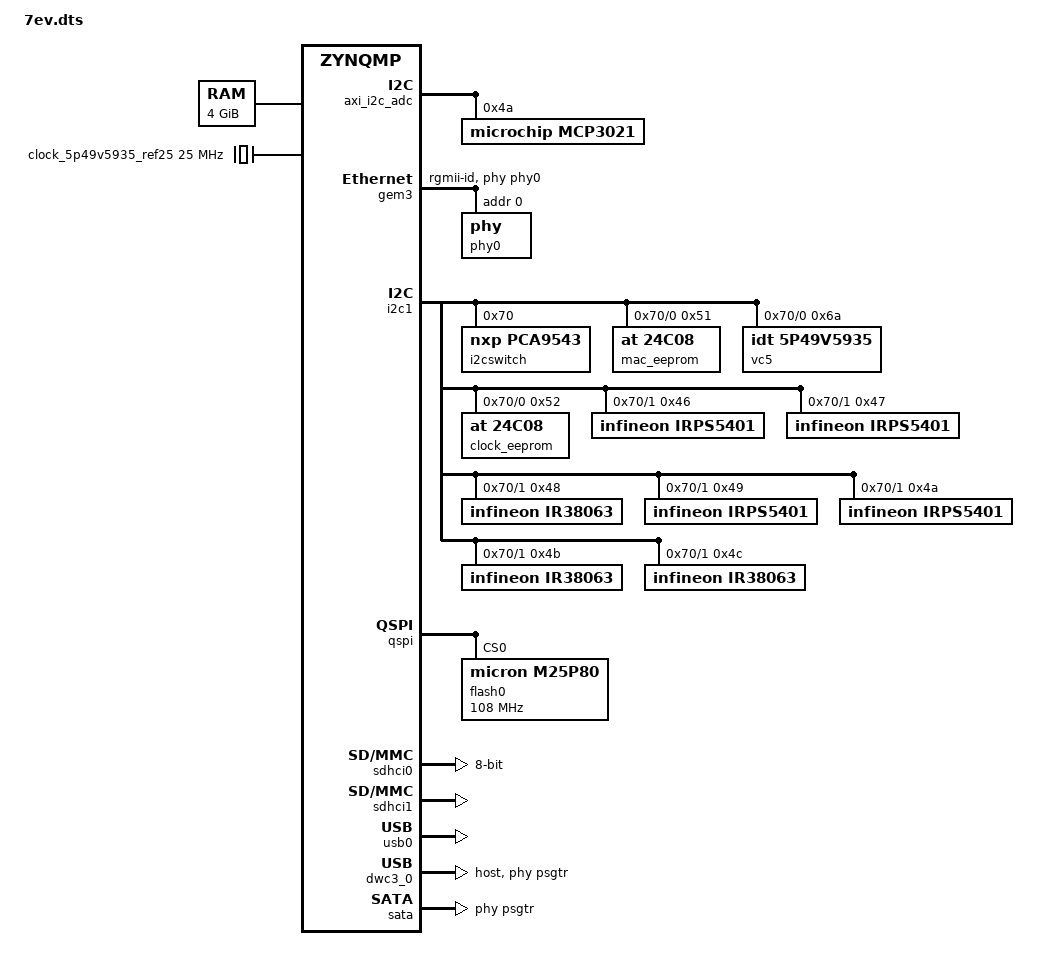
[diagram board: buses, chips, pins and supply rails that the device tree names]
/dts-v1/;
#include "zynqmp.dtsi"
#include "zynqmp-clk-ccf.dtsi"
#include "pl.dtsi"
#include "pcw.dtsi"
#include <dt-bindings/phy/phy.h>
#include <dt-bindings/input/input.h>
#include <dt-bindings/gpio/gpio.h>
#include <dt-bindings/pinctrl/pinctrl-zynqmp.h>
#include <dt-bindings/interrupt-controller/irq.h>

/* From include/dt-bindings/clk/versaclock.h */
#define VC5_LVPECL   0
#define VC5_CMOS  1
#define VC5_HCSL33   2
#define VC5_LVDS  3
#define VC5_CMOS2 4
#define VC5_CMOSD 5
#define VC5_HCSL25   6
/ {
	chosen {
		bootargs = "earlycon console=ttyPS0,115200 clk_ignore_unused root=/dev/mmcblk1p2 rw rootwait";
		stdout-path = "serial0:115200n8";
	};
	aliases {
		ethernet0 = &gem3;
		serial0 = &uart0;
		serial1 = &uart1;
		spi0 = &qspi;
	};
	memory {
		device_type = "memory";
		reg = <0x0 0x0 0x0 0x7ff00000>, <0x00000008 0x00000000 0x0 0x80000000>;
	};
	
   clock_5p49v5935_ref25: ref25m { /* 25MHz reference crystal (internal) - U3 */
      compatible = "fixed-clock";
      #clock-cells = <0>;
      clock-frequency = <25000000>;
   };

   gtr_clk0: gtr_clk0 { /* gtr_refclk0_pcie - 100MHz - U3 */
      compatible = "fixed-clock";
      #clock-cells = <0>;
      clock-frequency = <100000000>;
   };

   gtr_clk1: gtr_clk1 { /* gtr_refclk1_sata - 125MHz - U3 */
      compatible = "fixed-clock";
      #clock-cells = <0>;
      clock-frequency = <125000000>;
   };

   gtr_clk2: gtr_clk2 { /* gtr_refclk2_usb - 52MHz - U3 */
      compatible = "fixed-clock";
      #clock-cells = <0>;
      clock-frequency = <52000000>;
   };

   gtr_clk3: gtr_clk3 { /* gtr_refclk3_dp - 27MHz - U3 */
      compatible = "fixed-clock";
      #clock-cells = <0>;
      clock-frequency = <27000000>;
   };
};

&fpd_dma_chan1 {
	status = "okay";
	#dma-cells = <1>;
	xlnx,bus-width = <128>;
};

&fpd_dma_chan2 {
	status = "okay";
	#dma-cells = <1>;
	xlnx,bus-width = <128>;
};

&fpd_dma_chan3 {
	status = "okay";
	#dma-cells = <1>;
	xlnx,bus-width = <128>;
};
    
&amba_pl {
	cc7ev_system: cc7ev_system@80200000 {
	   compatible = "cc7ev_system-1.0";
	   reg = <0x0 0x80200000 0x0 0x10000>;
    };
	ch0: channel@80000000 {
	      compatible = "channel-1.0";
	      clock-names = "axi_lite_aclk";
	      clocks = <&misc_clk_0>, <&misc_clk_0>;
	      reg = <0x0 0x80000000 0x0 0x10000>,
                <0x0 0x80040000 0x0 0x10000>,
                <0x0 0x80210000 0x0 0x10000>;
          reg-names = "channel_in", "channel_out", "line_test";                                        
 		  channel_number = <0>;
		  refclk_hz = <300000000>;
          pcmout_init_bitrate = <1000000>;
		  c_out_polarity = <0>;
		  d_out_polarity = <0>;
    };
	ch1: channel@80010000 {
	      compatible = "channel-1.0";
	      clock-names = "axi_lite_aclk";
	      clocks = <&misc_clk_0>, <&misc_clk_0>;
	      reg = <0x0 0x80010000 0x0 0x10000>,
                <0x0 0x80050000 0x0 0x10000>,
                <0x0 0x80220000 0x0 0x10000>;
          reg-names = "channel_in", "channel_out", "line_test";                                        
 		  channel_number = <1>;
		  refclk_hz = <300000000>;
          pcmout_init_bitrate = <1000000>;
		  c_out_polarity = <0>;
		  d_out_polarity = <0>;
    };
	ch2: channel@80020000 {
	      compatible = "channel-1.0";
	      clock-names = "axi_lite_aclk";
	      clocks = <&misc_clk_0>, <&misc_clk_0>;
	      reg = <0x0 0x80020000 0x0 0x10000>,
                <0x0 0x80060000 0x0 0x10000>,
                <0x0 0x80230000 0x0 0x10000>;
          reg-names = "channel_in", "channel_out", "line_test";                                        
 		  channel_number = <2>;
		  refclk_hz = <300000000>;
          pcmout_init_bitrate = <1000000>;
		  c_out_polarity = <0>;
		  d_out_polarity = <0>;
    };
	ch3: channel@80030000 {
	      compatible = "channel-1.0";
	      clock-names = "axi_lite_aclk";
	      clocks = <&misc_clk_0>, <&misc_clk_0>;
	      reg = <0x0 0x80030000 0x0 0x10000>,
                <0x0 0x80070000 0x0 0x10000>,
                <0x0 0x80240000 0x0 0x10000>;
          reg-names = "channel_in", "channel_out", "line_test";                                        
 		  channel_number = <3>;
		  refclk_hz = <300000000>;
          pcmout_init_bitrate = <1000000>;
		  c_out_polarity = <0>;
		  d_out_polarity = <0>;
    };
	clocktrack0: clocktrack@80090000 {
	      compatible = "clocktrack-1.0";
	      clock-names = "axi_lite_aclk";
	      clocks = <&misc_clk_0>, <&misc_clk_0>;
     	  reg = <0x0 0x80090000 0x0 0x10000>;
		  refclk_hz = <300000000>;
	      setpointcenter = <250000>;
	      setpointoffset = <50000>;
    };
    dma_central0: dma_central@80080000 {
          compatible = "dma_central-1.0";
	      clock-names = "axi_lite_aclk", "axis_in_aclk";
          clocks = <&misc_clk_0>, <&misc_clk_0>;
          interrupt-parent = <&gic>;
          interrupts = <0 89 1>;
          reg = <0x0 0x80080000 0x0 0x1000 0x0 0xa0000000 0x0 0x100000>;
          start_channel = <0>;
          num_channels = <4>;
          int_retry_cnt = <500000>;
          dmas = <&fpd_dma_chan1 0>;
          dma-names = "dma";
	};
	ch4: channel@800a0000 {
	      compatible = "channel-1.0";
	      clock-names = "axi_lite_aclk";
	      clocks = <&misc_clk_0>, <&misc_clk_0>;
	      reg = <0x0 0x800a0000 0x0 0x10000>,
                <0x0 0x800b0000 0x0 0x10000>,
                <0x0 0x80250000 0x0 0x10000>;
          reg-names = "channel_in", "channel_out", "line_test";                                        
 		  channel_number = <4>;
		  refclk_hz = <300000000>;
          pcmout_init_bitrate = <1000000>;
		  c_out_polarity = <0>;
		  d_out_polarity = <0>;
    };
	ch5: channel@800c0000 {
	      compatible = "channel-1.0";
	      clock-names = "axi_lite_aclk";
	      clocks = <&misc_clk_0>, <&misc_clk_0>;
	      reg = <0x0 0x800c0000 0x0 0x10000>,
                <0x0 0x800d0000 0x0 0x10000>,
                <0x0 0x80260000 0x0 0x10000>;
          reg-names = "channel_in", "channel_out", "line_test";                                        
 		  channel_number = <5>;
		  refclk_hz = <300000000>;
          pcmout_init_bitrate = <1000000>;
		  c_out_polarity = <0>;
		  d_out_polarity = <0>;
    };
	ch6: channel@800e0000 {
	      compatible = "channel-1.0";
	      clock-names = "axi_lite_aclk";
	      clocks = <&misc_clk_0>, <&misc_clk_0>;
	      reg = <0x0 0x800e0000 0x0 0x10000>,
                <0x0 0x800f0000 0x0 0x10000>,
                <0x0 0x80270000 0x0 0x10000>;
          reg-names = "channel_in", "channel_out", "line_test";                                        
 		  channel_number = <6>;
		  refclk_hz = <300000000>;
          pcmout_init_bitrate = <1000000>;
		  c_out_polarity = <0>;
		  d_out_polarity = <0>;
    };
	ch7: channel@80100000 {
	      compatible = "channel-1.0";
	      clock-names = "axi_lite_aclk";
	      clocks = <&misc_clk_0>, <&misc_clk_0>;
	      reg = <0x0 0x80100000 0x0 0x10000>,
                <0x0 0x80110000 0x0 0x10000>,
                <0x0 0x80280000 0x0 0x10000>;
          reg-names = "channel_in", "channel_out", "line_test";                                        
 		  channel_number = <7>;
		  refclk_hz = <300000000>;
          pcmout_init_bitrate = <1000000>;
		  c_out_polarity = <0>;
		  d_out_polarity = <0>;
    };
	clocktrack1: clocktrack@80130000 {
	      compatible = "clocktrack-1.0";
	      clock-names = "axi_lite_aclk";
	      clocks = <&misc_clk_0>, <&misc_clk_0>;
     	  reg = <0x0 0x80130000 0x0 0x10000>;
		  refclk_hz = <300000000>;
	      setpointcenter = <250000>;
	      setpointoffset = <50000>;
    };
    dma_central1: dma_central@80150000 {
          compatible = "dma_central-1.0";
	      clock-names = "axi_lite_aclk", "axis_in_aclk";
          clocks = <&misc_clk_0>, <&misc_clk_0>;
          interrupt-parent = <&gic>;
          interrupts = <0 90 1>;
          reg = <0x0 0x80150000 0x0 0x1000 0x0 0xb0000000 0x0 0x100000>;
          start_channel = <4>;
          num_channels = <4>;
          int_retry_cnt = <500000>;
          dmas = <&fpd_dma_chan2 0>;
          dma-names = "dma";
	};
	ch8: channel@80160000 {
	      compatible = "channel-1.0";
	      clock-names = "axi_lite_aclk";
	      clocks = <&misc_clk_0>, <&misc_clk_0>;
	      reg = <0x0 0x80160000 0x0 0x10000>,
                <0x0 0x80170000 0x0 0x10000>,
                <0x0 0x80290000 0x0 0x10000>;
          reg-names = "channel_in", "channel_out", "line_test";                                        
 		  channel_number = <8>;
		  refclk_hz = <300000000>;
          pcmout_init_bitrate = <1000000>;
		  c_out_polarity = <0>;
		  d_out_polarity = <0>;
    };
	ch9: channel@80180000 {
	      compatible = "channel-1.0";
	      clock-names = "axi_lite_aclk";
	      clocks = <&misc_clk_0>, <&misc_clk_0>;
	      reg = <0x0 0x80180000 0x0 0x10000>,
                <0x0 0x80190000 0x0 0x10000>,
                <0x0 0x802a0000 0x0 0x10000>;
          reg-names = "channel_in", "channel_out", "line_test";                                        
 		  channel_number = <9>;
		  refclk_hz = <300000000>;
          pcmout_init_bitrate = <1000000>;
		  c_out_polarity = <0>;
		  d_out_polarity = <0>;
    };
	ch10: channel@801a0000 {
	      compatible = "channel-1.0";
	      clock-names = "axi_lite_aclk";
	      clocks = <&misc_clk_0>, <&misc_clk_0>;
	      reg = <0x0 0x801a0000 0x0 0x10000>,
                <0x0 0x801b0000 0x0 0x10000>,
                <0x0 0x802b0000 0x0 0x10000>;
          reg-names = "channel_in", "channel_out", "line_test";                                        
 		  channel_number = <10>;
		  refclk_hz = <300000000>;
          pcmout_init_bitrate = <1000000>;
		  c_out_polarity = <0>;
		  d_out_polarity = <0>;
    };
	ch11: channel@801c0000 {
	      compatible = "channel-1.0";
	      clock-names = "axi_lite_aclk";
	      clocks = <&misc_clk_0>, <&misc_clk_0>;
	      reg = <0x0 0x801c0000 0x0 0x10000>,
                <0x0 0x801d0000 0x0 0x10000>,
                <0x0 0x802c0000 0x0 0x10000>;
          reg-names = "channel_in", "channel_out", "line_test";                                        
 		  channel_number = <11>;
		  refclk_hz = <300000000>;
          pcmout_init_bitrate = <1000000>;
		  c_out_polarity = <0>;
		  d_out_polarity = <0>;
    };
	clocktrack2: clocktrack@801e0000 {
	      compatible = "clocktrack-1.0";
	      clock-names = "axi_lite_aclk";
	      clocks = <&misc_clk_0>, <&misc_clk_0>;
	      reg = <0x0 0x801e0000 0x0 0x10000>;
		  refclk_hz = <300000000>;
	      setpointcenter = <250000>;
	      setpointoffset = <50000>;
    };
    dma_central2: dma_central@801f0000 {
          compatible = "dma_central-1.0";
	      clock-names = "axi_lite_aclk", "axis_in_aclk";
          clocks = <&misc_clk_0>, <&misc_clk_0>;
          interrupt-parent = <&gic>;
          interrupts = <0 91 1>;
          reg = <0x0 0x801f0000 0x0 0x1000 0x0 0xa1000000 0x0 0x100000>;
          start_channel = <8>;
          num_channels = <4>;
          int_retry_cnt = <500000>;
          dmas = <&fpd_dma_chan3 0>;
          dma-names = "dma";
	};
    axi_i2c_adc: i2c@80120000 {
	      #address-cells = <1>;
		  #size-cells = <0>;
		  clock-names = "s_axi_aclk";
		  clocks = <&misc_clk_0>;
		  compatible = "xlnx,axi-iic-2.1", "xlnx,xps-iic-2.00.a";
		  interrupt-names = "iic2intc_irpt";
		  interrupt-parent = <&gic>;
		  interrupts = <0 95 4>;
		  reg = <0x0 0x80120000 0x0 0x10000>;
          mcp3021@4a {
	                 compatible = "microchip,mcp3021";
	                 reg = <0x4a>;
                     reference-voltage-microvolt = <3300000>; /* 3.3 V */
          };
	};

/*
    axi_spi: spi@80010000 {
    compatible = "xlnx,axi-quad-spi-1.00.a";
	clock-names = "ext_spi_clk", "s_axi_aclk";
	clocks = <&misc_clk_0>, <&misc_clk_0>;
	fifo-size = <16>;
	interrupt-parent = <&gic>;
	interrupts = <0 96 1>;
	num-cs = <0x1>;
	reg = <0x0 0x80010000 0x0 0x10000>;
	xlnx,num-ss-bits = <0x1>;
	xlnx,spi-mode = <0>;
	#address-cells = <1>;
	#size-cells = <0>;
    spidev@0 {
		  compatible = "spidev";
		  spi-max_frequency = <15000000>;
		  reg = <0>;
	      };
    };
	lcd: lcd@0 {
	 	  compatible = "ilitek,ili9163";
		  reg = <0>;
	 	  spi-max_frequency = <19000000>;
          rotate = <90>;
          width = <160>;
          height = <128>;
          bgr;
          fps = <10>;
          buswidth = <8>;
          reset-gpios = <&gpio 78 1>;
          dc-gpios = <&gpio 79 0>;
          cs-gpios = <&gpio 80 0>;
          debug=<1>;
          status = "okay";
	};
    */
};

&gpio {
	status = "okay";
};

&gem3 {
	phy-mode = "rgmii-id";
	status = "okay";
	xlnx,ptp-enet-clock = <0x0>;
	local-mac-address = [00 0a 35 00 02 90];
	phy-mode = "rgmii-id";
	phy-handle = <&phy0>;
	phy0: phy@0 {
		reg = <0x0>;
		ti,rx-internal-delay = <0x5>;
		ti,tx-internal-delay = <0x5>;
		ti,fifo-depth = <0x1>;
	};
};

&i2c1 {
   i2cswitch@70 { /* U7 on UZ3EG SOM, U8 on UZ7EV SOM */
      compatible = "nxp,pca9543";
      #address-cells = <1>;
      #size-cells = <0>;
      reg = <0x70>;
      i2c@0 { /* i2c mw 70 0 1 */
         #address-cells = <1>;
         #size-cells = <0>;
         reg = <0>;
         /* Ethernet MAC ID EEPROM */
         mac_eeprom@51 { /* U5 on UZ3EG IOCC & PCIEC and U7 on the UZ7EV EVCC */
            compatible = "at,24c08";
            reg = <0x51>;
         };

         vc5: clock-generator@6a { /* IDT (Renesas) 5P49V5935 I2C clock generator */
            compatible = "idt,5p49v5935";
            reg = <0x6a>;
            #clock-cells = <1>;

            /* Connect XIN input to 25MHz reference */
            clocks = <&clock_5p49v5935_ref25>;
            clock-names = "xin";

            OUT3 { /* USB3 */
               idt,drive-mode = <VC5_CMOSD>; 
               idt,voltage-microvolts = <1800000>;
               idt,slew-percent = <80>;
            };
         };

         
         clock_eeprom@52 { /* U5 on the UZ7EV EVCC */
            compatible = "at,24c08";
            reg = <0x52>;
         };
      };

      i2c@1 {
         #address-cells = <0x1>;
         #size-cells = <0x0>;
         reg = <0x1>;

         irps5401@46 { /* IRPS5401 - U24 on UZ7EV SOM*/
            compatible = "infineon,irps5401";
            reg = <0x46>;
         };

         irps5401@47 { /* IRPS5401 - U25 on UZ7EV SOM*/
            compatible = "infineon,irps5401";
            reg = <0x47>;
         };

         ir38063@48 { /* IR38063 - U26 on UZ7EV SOM*/
            compatible = "infineon,ir38063";
            reg = <0x48>;
         };

         irps5401@49 { /* IRPS5401 - U21 on UZ7EV EVCC*/
            compatible = "infineon,irps5401";
            reg = <0x49>;
         };
         irps5401@4a { /* IRPS5401 - U22 on UZ7EV EVCC*/
            compatible = "infineon,irps5401";
            reg = <0x4a>;
         };

         ir38063@4b { /* IR38063 - U18 on UZ7EV EVCC*/
            compatible = "infineon,ir38063";
            reg = <0x4b>;
         };

         ir38063@4c { /* IR38063 - U19 on UZ7EV EVCC*/
            compatible = "infineon,ir38063";
            reg = <0x4c>;
         };
      };
   };
};


&qspi {
   #address-cells = <1>;
   #size-cells = <0>;
   status = "okay";
   is-dual = <1>; /* Set for dual-parallel QSPI config */
   num-cs = <2>;
   xlnx,fb-clk = <0x1>;
   flash0: flash@0 {
      /* The Flash described below doesn't match our board ("micron,n25qu256a"), but is needed */
      /* so the Flash MTD partitions are correctly identified in /proc/mtd */
      compatible = "micron,m25p80","jedec,spi-nor"; /* 32MB */
      #address-cells = <1>;
      #size-cells = <1>;
      reg = <0x0>;
      spi-tx-bus-width = <1>;
      spi-rx-bus-width = <4>; /* FIXME also DUAL configuration possible */
      spi-max-frequency = <108000000>; /* Set to 108000000 Based on DC1 spec */
   };
};

/* SD0 eMMC, 8-bit wide data bus */
&sdhci0 {
   status = "okay";
   bus-width = <8>;
   max-frequency = <50000000>;
};

/* SD1 with level shifter */
&sdhci1 {
   status = "okay";
   max-frequency = <50000000>;
   no-1-8-v;   /* for 1.0 silicon */
};

&psgtr {
   /* PCIE, SATA, USB3, DP */
   clocks = <&gtr_clk0>, <&gtr_clk1>, <&gtr_clk2>, <&gtr_clk3>;
   clock-names = "ref0", "ref1", "ref2", "ref3";
};

/* ULPI SMSC USB3320 */
&usb0 {
   status = "okay";
};

&dwc3_0 {
   status = "okay"; 
   dr_mode = "host";
   maximum-speed = "super-speed"; 
   snps,usb3_lpm_capable; 
   snps,enable_auto_retry; 
   phy-names = "usb3-phy"; 
   /* <psgtr_phandle> <lane_number> <controller_type> <instance> <refclk> */
   phys = <&psgtr 2 PHY_TYPE_USB3 0 2>;
};

&sata {
/*   status = "okay"; */
   phy-names = "sata-phy";
   /* <psgtr_phandle> <lane_number> <controller_type> <instance> <refclk> */
   phys = <&psgtr 1 PHY_TYPE_SATA 1 1>;
};
